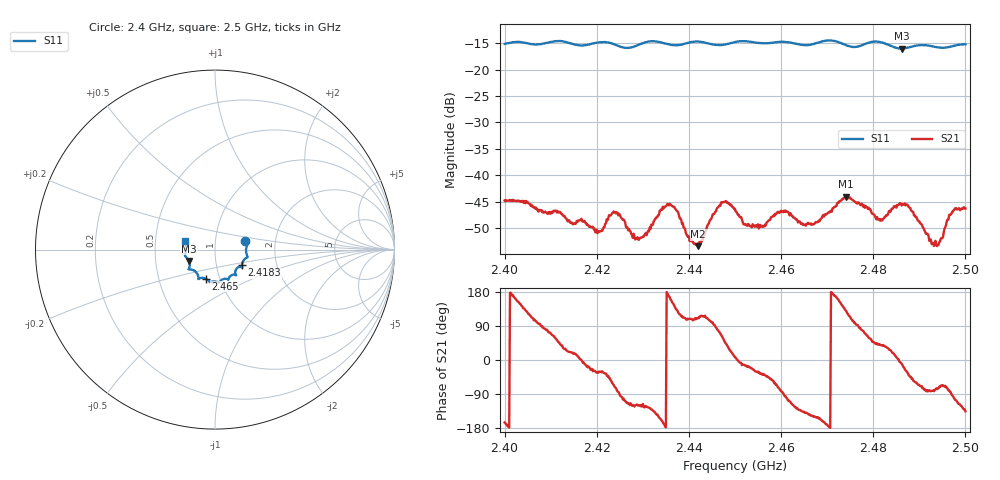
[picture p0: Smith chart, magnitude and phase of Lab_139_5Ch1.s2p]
# Hz S RI R 50
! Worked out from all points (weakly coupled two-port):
!   601 points, 2.4 GHz to 2.5 GHz, reference 50 ohm
!   highest |S21| = -44.08 dB at 2.474 GHz (marker M1); lowest = -53.4 dB at 2.442 GHz (marker M2)
!   lowest |S11| = -16.0 dB at 2.4862 GHz (marker M3), VSWR 1.37, Z = 37.1 - j4.81 ohm
!   |S11| at or under -10 dB: start of sweep to end of sweep
!   S12 and S22 are empty: the file has one direction only
!   S11 on the Smith chart (normalised r, x): 2.4 GHz: 1.40, +0.13; 2.4183 GHz: 1.33, -0.24; 2.465 GHz: 0.86, -0.29; 2.5 GHz: 0.71, +0.07
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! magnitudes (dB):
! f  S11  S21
! 2.4 GHz  -15.1  -44.8
! 2.4167 GHz  -15.4  -48.2
! 2.4183 GHz  -15.2  -49.8
! 2.4207 GHz  -14.8  -50.6
! 2.424 GHz  -15.3  -47.0
! 2.4288 GHz  -15.4  -51.8
! 2.4333 GHz  -14.7  -47.6
! 2.4363 GHz  -15.4  -45.8
! 2.442 GHz  -14.7  -53.4
! 2.447 GHz  -15.4  -45.1
! 2.45 GHz  -14.8  -46.4
! 2.4532 GHz  -14.7  -49.6
! 2.4605 GHz  -14.7  -47.0
! 2.465 GHz  -15.4  -49.4
! 2.4667 GHz  -15.2  -49.2
! 2.474 GHz  -15.3  -44.1
! 2.4815 GHz  -14.8  -48.6
! 2.4833 GHz  -15.3  -47.0
! 2.4862 GHz  -16.0  -45.7
! 2.4937 GHz  -15.7  -53.3
! 2.497 GHz  -15.6  -47.3
! 2.5 GHz  -15.2  -46.3
